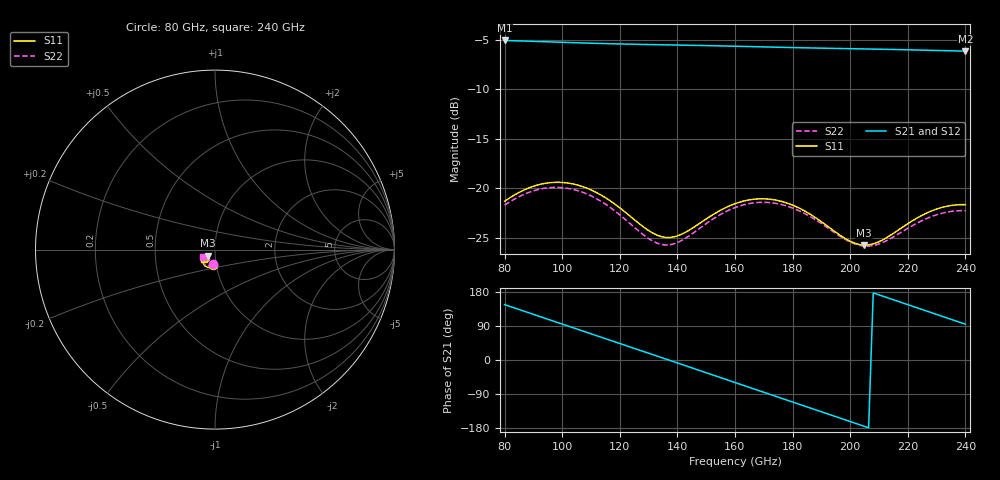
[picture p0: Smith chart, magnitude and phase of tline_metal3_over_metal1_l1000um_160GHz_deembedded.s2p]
! Created with skrf 2.0.1 (http://scikit-rf.org).
# GHz S DB R 50.0
!freq dBS11 angS11 dBS21 angS21 dBS12 angS12 dBS22 angS22
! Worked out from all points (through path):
!   101 points, 80 GHz to 240 GHz, reference 50 ohm
!   highest |S21| = -5.08 dB at 80 GHz (marker M1); lowest = -6.2 dB at 240 GHz (marker M2)
!   group delay of S21, straight-line fit = 7.15 ps
!   lowest |S11| = -25.8 dB at 204.8 GHz (marker M3), VSWR 1.11, Z = 46.2 - j3.19 ohm
!   |S11| at or under -10 dB: start of sweep to end of sweep
!   |S22| runs from -25.9 to -19.9 dB; largest |S21 - S12| = 9e-14
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80  -21.32 -96.3  -5.08 146.2  -5.08 146.2  -21.71 -99.4
88  -20.03 -102.9  -5.15 125.6  -5.15 125.6  -20.48 -106.0
94.4  -19.50 -111.3  -5.21 109.2  -5.21 109.2  -19.99 -114.4
100.8  -19.44 -120.5  -5.27 92.7  -5.27 92.7  -19.97 -123.8
107.2  -19.86 -129.5  -5.33 76.3  -5.33 76.3  -20.43 -132.9
113.6  -20.72 -137.1  -5.39 59.9  -5.39 59.9  -21.35 -140.7
121.6  -22.36 -142.6  -5.44 39.4  -5.44 39.4  -23.09 -146.1
128  -23.87 -141.3  -5.48 23.0  -5.48 23.0  -24.67 -144.3
134.4  -24.90 -133.7  -5.52 6.6  -5.52 6.6  -25.69 -135.9
139.2  -24.90 -126.3  -5.54 -5.7  -5.54 -5.7  -25.59 -128.0
147.2  -23.66 -119.0  -5.59 -26.4  -5.59 -26.4  -24.17 -120.9
160  -21.57 -124.4  -5.66 -59.4  -5.66 -59.4  -21.96 -127.5
166.4  -21.12 -131.0  -5.71 -75.9  -5.71 -75.9  -21.49 -134.6
172.8  -21.14 -138.3  -5.75 -92.4  -5.75 -92.4  -21.48 -142.2
179.2  -21.62 -145.0  -5.79 -108.8  -5.79 -108.8  -21.92 -149.3
187.2  -22.84 -150.7  -5.84 -129.4  -5.84 -129.4  -23.06 -155.6
196.8  -24.82 -149.0  -5.90 -154.1  -5.90 -154.1  -24.92 -155.2
204.8  -25.75 -138.2  -5.94 -174.7  -5.94 -174.7  -25.86 -146.3
214.4  -24.68 -125.9  -5.99 160.5  -5.99 160.5  -25.03 -135.5
220.8  -23.44 -124.4  -6.03 144.0  -6.03 144.0  -23.92 -134.2
228.8  -22.24 -128.4  -6.08 123.3  -6.08 123.3  -22.81 -138.1
240  -21.67 -138.6  -6.16 94.5  -6.16 94.5  -22.28 -148.2
